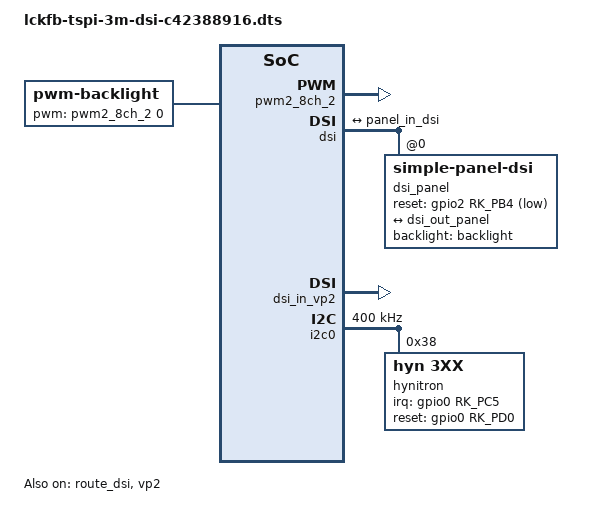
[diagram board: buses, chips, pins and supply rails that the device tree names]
// SPDX-License-Identifier: (GPL-2.0+ OR MIT)
/*
 * LCKFB TaishanPi 3M: 3.1 inch 480x800 MIPI DSI screen with CST128 touch (LCSC C42388916)
 * Generated from rk3576-lckfb-tspi-3m-dsi-c42388916.dtsi (LCKFB). Load only one
 * display overlay, and only one of pcie, sata and ec20-4g.
 */

/dts-v1/;
/plugin/;

#include <dt-bindings/gpio/gpio.h>
#include <dt-bindings/pinctrl/rockchip.h>
#include <dt-bindings/interrupt-controller/irq.h>
#include <dt-bindings/display/drm_mipi_dsi.h>
#include <dt-bindings/display/rockchip_vop.h>
#include <dt-bindings/pwm/pwm.h>

/********************************************************************
 * SPDX-License-Identifier: (GPL-2.0+ OR MIT)
 * 
 * Copyright (c) 2023 Rockchip Electronics Co., Ltd.
 * Copyright (c) 2026 LCKFB <lckfb@sz-jlc.com>
 *********************************************************************
 * Wiki-(Chinese): https://wiki.lckfb.com/
 * Wiki-(English): https://wiki.lckfb.com/en/
 *********************************************************************/

/*-----------------------------------------------------------
 * Backlight control node
 * backlight: PWM backlight control, 255 brightness levels
 * compatible: uses the pwm-backlight driver
 * pwms: PWM controller and channel
 * brightness-levels: table of brightness levels
 * default-brightness-level: default brightness
 *-----------------------------------------------------------*/
&{/} {
	backlight: backlight {
		compatible = "pwm-backlight";
		pwms = <&pwm2_8ch_2 0 25000 0>;
		brightness-levels = <
			  0  20  20  21  21  22  22  23
			 23  24  24  25  25  26  26  27
			 27  28  28  29  29  30  30  31
			 31  32  32  33  33  34  34  35
			 35  36  36  37  37  38  38  39
			 40  41  42  43  44  45  46  47
			 48  49  50  51  52  53  54  55
			 56  57  58  59  60  61  62  63
			 64  65  66  67  68  69  70  71
			 72  73  74  75  76  77  78  79
			 80  81  82  83  84  85  86  87
			 88  89  90  91  92  93  94  95
			 96  97  98  99 100 101 102 103
			104 105 106 107 108 109 110 111
			112 113 114 115 116 117 118 119
			120 121 122 123 124 125 126 127
			128 129 130 131 132 133 134 135
			136 137 138 139 140 141 142 143
			144 145 146 147 148 149 150 151
			152 153 154 155 156 157 158 159
			160 161 162 163 164 165 166 167
			168 169 170 171 172 173 174 175
			176 177 178 179 180 181 182 183
			184 185 186 187 188 189 190 191
			192 193 194 195 196 197 198 199
			200 201 202 203 204 205 206 207
			208 209 210 211 212 213 214 215
			216 217 218 219 220 221 222 223
			224 225 226 227 228 229 230 231
			232 233 234 235 236 237 238 239
			240 241 242 243 244 245 246 247
			248 249 250 251 252 253 254 255
		>;
		default-brightness-level = <200>;
	};
};


/*-----------------------------------------------------------
 * PWM controller node
 * pwm2_8ch_2: multi-channel PWM, backlight control
 * status: enabled
 * pinctrl-0: binds the PWM output pin
 *-----------------------------------------------------------*/
&pwm2_8ch_2 {
	status = "okay";
	pinctrl-0 = <&pwm2m3_ch2>;
};

/*-----------------------------------------------------------
 * Main node of the MIPI DSI display interface
 *-----------------------------------------------------------*/
&dsi {
	status = "okay";
	// rockchip,lane-rate = <500>;
	dsi_panel: panel@0 {
		status = "okay";
		compatible = "simple-panel-dsi";
		reg = <0>;
		backlight = <&backlight>;
        // power-supply = <&mipi_dsi_power>;
		reset-gpios = <&gpio2 RK_PB4 GPIO_ACTIVE_LOW>;

		reset-delay-ms = <200>;
		enable-delay-ms = <100>;
		prepare-delay-ms = <20>;
		unprepare-delay-ms = <20>;
		disable-delay-ms = <20>;
		init-delay-ms = <120>;

		dsi,flags = <(MIPI_DSI_MODE_VIDEO | MIPI_DSI_MODE_VIDEO_BURST |
 			MIPI_DSI_MODE_LPM  )>;
		dsi,format = <MIPI_DSI_FMT_RGB888>;
		dsi,lanes  = <2>;

		panel-init-sequence = [
			// init code
			05 78 01 01
			05 78 01 11
			39 0A 06 FF 77 01 00 00 11
			15 0A 02 D1 11
			15 0A 02 55 B0 // 80 90 b0
			39 0A 06 FF 77 01 00 00 10
			39 0A 03 C0 63 00
			39 0A 03 C1 09 02
			39 0A 03 C2 37 08
			15 0A 02 C7 00 // x-dir rotate 0:0x00,rotate 180:0x04
			15 0A 02 CC 38
			39 0A 11 B0 00 11 19 0C 10 06 07 0A 09 22 04 10 0E 28 30 1C
			39 6E 11 B1 00 12 19 0D 10 04 06 07 08 23 04 12 11 28 30 1C
			39 0A 06 FF 77 01 00 00 11 // enable  bk fun of  command 2  BK1
			15 0A 02 B0 4D
			15 0A 02 B1 60 // 0x56  0x4a  0x5b
			15 0A 02 B2 07
			15 6E 02 B3 80
			15 0A 02 B5 47
			15 0A 02 B7 8A
			15 0A 02 B8 21
			15 0A 02 C1 78
			15 0A 02 C2 78
			15 0A 02 D0 88
			39 0A 04 E0 00 00 02
			39 0A 0C E1 01 A0 03 A0 02 A0 04 A0 00 44 44
			39 0A 0D E2 00 00 00 00 00 00 00 00 00 00 00 00
			39 0A 05 E3 00 00 33 33
			39 0A 03 E4 44 44
			39 0A 11 E5 01 26 A0 A0 03 28 A0 A0 05 2A A0 A0 07 2C A0 A0
			39 0A 05 E6 00 00 33 33
			39 0A 03 E7 44 44
			39 0A 11 E8 02 26 A0 A0 04 28 A0 A0 06 2A A0 A0 08 2C A0 A0
			39 0A 08 EB 00 01 E4 E4 44 00 40
			39 0A 11 ED FF F7 65 4F 0B A1 CF FF FF FC 1A B0 F4 56 7F FF
			15 0A 02 EE 42 // missing?
			39 0A 06 FF 77 01 00 00 00
			15 0A 02 36 00 //U&D  Y-DIR rotate 0:0x00,rotate 180:0x10
			15 0A 02 3A 55
			05 78 01 11           
			05 14 01 29		
		];

		panel-exit-sequence = [
			05 00 01 28
			05 00 01 10
		];

		disp_timings0: display-timings {
			native-mode = <&dsi_timing0>;
			dsi_timing0: timing0 {

				clock-frequency = <30816000>;// (480+50+60+10)*(800+20+34+2)*60

				hactive = <480>;
				hfront-porch = <50>;
				hback-porch = <60>;
				hsync-len = <10>;

				vactive = <800>;
				vfront-porch = <20>;
				vback-porch = <34>;
				vsync-len = <2>;

				hsync-active = <0>;
				vsync-active = <0>;
				de-active = <0>;
				pixelclk-active = <0>;

				swap-rb = <0>;
				swap-rg = <0>;
				swap-gb = <0>;
			};
		};

		ports {
			#address-cells = <1>;
			#size-cells = <0>;

			port@0 {
				reg = <0>;
				panel_in_dsi: endpoint {
					remote-endpoint = <&dsi_out_panel>;
				};
			};
		};
	};

	ports {
		#address-cells = <1>;
		#size-cells = <0>;

		port@1 {
			reg = <1>;
			dsi_out_panel: endpoint {
				remote-endpoint = <&panel_in_dsi>;
			};
		};
	};

};

/*-----------------------------------------------------------
 * DSI Display Routing Node
 * route_dsi: Display video channel routing, VP2 output connected to DSI
 *-----------------------------------------------------------*/
&route_dsi {
	status = "okay";
	connect = <&vp2_out_dsi>;
};

/*-----------------------------------------------------------
 * DSI Display Path Configuration Description
 * dsi_in_vp0: Supports up to 4K@120Hz (main channel)
 * dsi_in_vp1: Supports up to 2560x1600@60Hz (secondary channel)
 * dsi_in_vp2: Supports up to 1920x1080@60Hz (third channel)
 * Can select which path to enable according to actual needs to save resources
 * dsi_in_vopl: VOPL Lite video pipeline, special purpose
 *-----------------------------------------------------------*/
&dsi_in_vp0 {
	status = "disabled";
};

&dsi_in_vp1 {
	status = "disabled";
};

&dsi_in_vp2 {
	status = "okay";
};

&dsi_in_vopl {
	status = "disabled";    // Disable third display path
};

/*-----------------------------------------------------------
 * VP2 Video Path Node
 * status: Enable VP2 as video source for DSI
 *-----------------------------------------------------------*/
&vp2 {
	status = "okay";
};

/*-----------------------------------------------------------
 * Touch Node
 *-----------------------------------------------------------*/
&i2c0 {
    pinctrl-names = "default";
	pinctrl-0 = <&i2c0m1_xfer>;
	clock-frequency = <400000>;
	status = "okay";

	hynitron@38 {
		compatible = "hyn,3xx";
		reg = <0x38>;
		interrupt-parent = <&gpio0>;
		interrupts = <RK_PC5 IRQ_TYPE_LEVEL_LOW>;
		irq-gpio = <&gpio0 RK_PC5 GPIO_ACTIVE_HIGH>;
		reset-gpio = <&gpio0 RK_PD0 GPIO_ACTIVE_HIGH>;
		max-touch-number = <5>;
		display-coords = <0 0 480 800>;
		pos-swap = <0>;
		posx-reverse = <0>;
		posy-reverse = <0>;
	};
};

